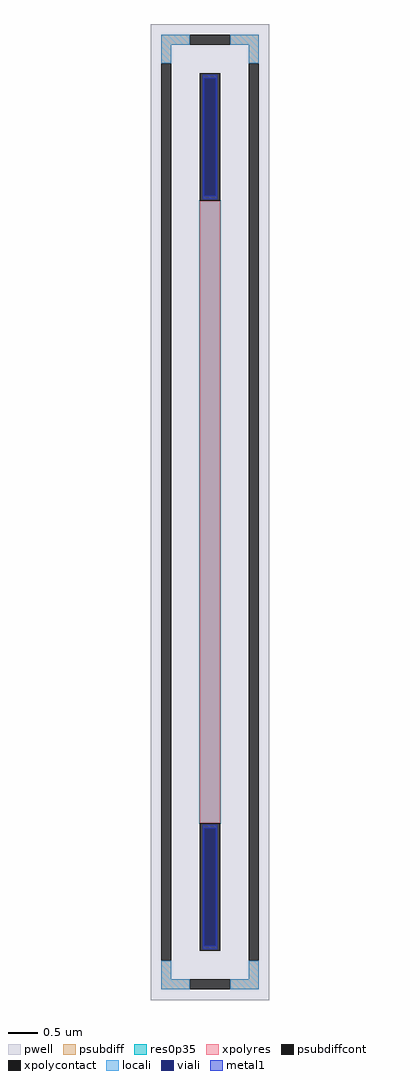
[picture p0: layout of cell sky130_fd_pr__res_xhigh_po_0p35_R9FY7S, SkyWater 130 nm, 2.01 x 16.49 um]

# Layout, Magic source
magic
tech sky130A
magscale 1 2
<< pwell >>
rect -201 -1649 201 1649
<< psubdiff >>
rect -165 1579 -69 1613
rect 69 1579 165 1613
rect -165 1517 -131 1579
rect 131 1517 165 1579
rect -165 -1579 -131 -1517
rect 131 -1579 165 -1517
rect -165 -1613 -69 -1579
rect 69 -1613 165 -1579
<< psubdiffcont >>
rect -69 1579 69 1613
rect -165 -1517 -131 1517
rect 131 -1517 165 1517
rect -69 -1613 69 -1579
<< xpolycontact >>
rect -35 1051 35 1483
rect -35 -1483 35 -1051
<< xpolyres >>
rect -35 -1051 35 1051
<< locali >>
rect -165 1579 -69 1613
rect 69 1579 165 1613
rect -165 1517 -131 1579
rect 131 1517 165 1579
rect -165 -1579 -131 -1517
rect 131 -1579 165 -1517
rect -165 -1613 -69 -1579
rect 69 -1613 165 -1579
<< viali >>
rect -19 1068 19 1465
rect -19 -1465 19 -1068
<< metal1 >>
rect -25 1465 25 1477
rect -25 1068 -19 1465
rect 19 1068 25 1465
rect -25 1056 25 1068
rect -25 -1068 25 -1056
rect -25 -1465 -19 -1068
rect 19 -1465 25 -1068
rect -25 -1477 25 -1465
<< res0p35 >>
rect -37 -1053 37 1053
<< properties >>
string FIXED_BBOX -148 -1596 148 1596
string gencell sky130_fd_pr__res_xhigh_po_0p35
string library sky130
string parameters w 0.350 l 10.505 m 1 nx 1 wmin 0.350 lmin 0.50 rho 2000 val 61.104k dummy 0 dw 0.0 term 188.2 sterm 0.0 caplen 0 wmax 0.350 guard 1 glc 1 grc 1 gtc 1 gbc 1 compatible {sky130_fd_pr__res_xhigh_po_0p35  sky130_fd_pr__res_xhigh_po_0p69 sky130_fd_pr__res_xhigh_po_1p41  sky130_fd_pr__res_xhigh_po_2p85 sky130_fd_pr__res_xhigh_po_5p73} snake 0 full_metal 1 n_guard 0 hv_guard 0 vias 1 viagb 0 viagt 0 viagl 0 viagr 0
<< end >>
